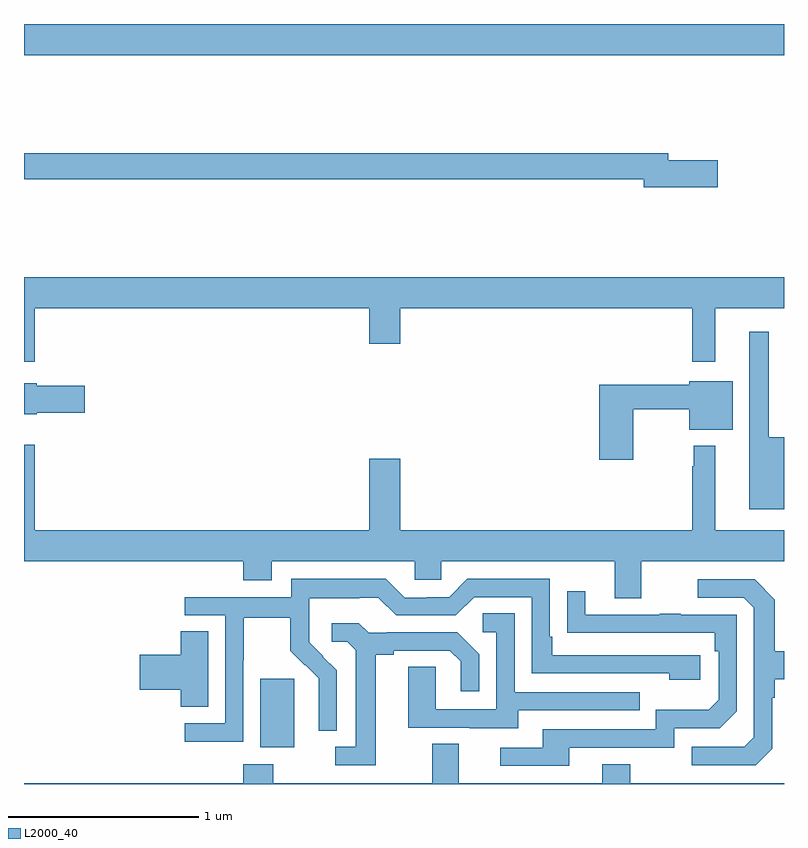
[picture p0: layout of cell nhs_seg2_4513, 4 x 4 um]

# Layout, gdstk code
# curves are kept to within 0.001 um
import gdstk
lib = gdstk.Library(unit=1e-6, precision=1e-09)
def R(c, l, rs):  # rectangles x0, y0, x1, y1
    for r in rs: c.add(gdstk.rectangle(r[:2], r[2:], *l))
def P(c, l, *ps):  # polygons
    for p in ps: c.add(gdstk.Polygon(p, *l))
L2000_40 = (2000, 40)

nhs_seg2_4513 = lib.new_cell('nhs_seg2_4513')
R(nhs_seg2_4513, L2000_40, [(356.243,643.994,356.422,644.355), (355,647.636,359,647.8)])
P(nhs_seg2_4513, L2000_40, [(358.651,647.084),(358.39,647.084),(358.39,647.12),(355,647.12),(355,646.984),(358.262,646.984),(358.262,646.942),(358.651,646.942)],
  [(355.057,646.304),(356.816,646.304),(356.816,646.116),(356.98,646.116),(356.98,646.304),(358.518,646.304),(358.518,646.023),(358.639,646.023),(358.639,646.304),(359,646.304),(359,646.468),(355,646.468),(355,646.023),(355.057,646.023)],
  [(359,645.625),(358.921,645.625),(358.921,646.18),(358.817,646.18),(358.817,645.245),(359,645.245)],
  [(358.206,645.772),(358.502,645.772),(358.502,645.665),(358.729,645.665),(358.729,645.919),(358.502,645.919),(358.502,645.901),(358.028,645.901),(358.028,645.507),(358.206,645.507)],
  [(355.068,645.755),(355.321,645.755),(355.321,645.897),(355.068,645.897),(355.068,645.91),(355,645.91),(355,645.746),(355.068,645.746)],
  [(358.249,644.972),(359,644.972),(359,645.136),(358.639,645.136),(358.639,645.58),(358.525,645.58),(358.525,645.473),(358.518,645.473),(358.518,645.136),(356.98,645.136),(356.98,645.511),(356.816,645.511),(356.816,645.136),(355.057,645.136),(355.057,645.586),(355,645.586),(355,644.972),(356.153,644.972),(356.153,644.873),(356.305,644.873),(356.305,644.972),(357.057,644.972),(357.057,644.874),(357.195,644.874),(357.195,644.972),(358.109,644.972),(358.109,644.778),(358.249,644.778)],
  [(356.154,644.452),(356.157,644.452),(356.157,644.676),(356.401,644.676),(356.401,644.501),(356.478,644.424),(356.481,644.427),(356.552,644.357),(356.552,644.234),(356.55,644.234),(356.55,644.08),(356.646,644.08),(356.646,644.398),(356.5,644.546),(356.5,644.643),(356.502,644.643),(356.502,644.777),(356.765,644.777),(356.765,644.781),(356.865,644.781),(356.958,644.688),(357.273,644.688),(357.369,644.784),(357.672,644.784),(357.672,644.382),(358.397,644.382),(358.397,644.348),(358.558,644.348),(358.558,644.478),(357.781,644.478),(357.781,644.575),(357.768,644.575),(357.768,644.88),(357.333,644.88),(357.237,644.784),(357.119,644.784),(357.119,644.781),(357.003,644.781),(356.903,644.881),(356.406,644.881),(356.406,644.784),(355.845,644.784),(355.845,644.688),(356.058,644.688),(356.058,644.121),(355.845,644.121),(355.845,644.023),(356.154,644.023)],
  [(358.938,643.986),(358.938,644.255),(358.951,644.255),(358.951,644.351),(359,644.351),(359,644.499),(358.951,644.499),(358.951,644.771),(358.845,644.877),(358.545,644.877),(358.545,644.781),(358.788,644.781),(358.842,644.727),(358.842,644.046),(358.791,643.995),(358.515,643.995),(358.515,643.899),(358.851,643.899)],
  [(357.871,643.992),(358.422,643.992),(358.422,644.094),(358.662,644.094),(358.752,644.184),(358.752,644.691),(358.457,644.691),(358.457,644.696),(358.345,644.696),(358.345,644.691),(357.955,644.691),(357.955,644.815),(357.859,644.815),(357.859,644.596),(358.636,644.595),(358.636,644.498),(358.656,644.498),(358.656,644.244),(358.603,644.191),(358.326,644.191),(358.326,644.088),(357.731,644.088),(357.731,643.992),(357.507,643.992),(357.507,643.896),(357.871,643.896)],
  [(357.601,644.187),(358.241,644.187),(358.241,644.283),(357.582,644.283),(357.582,644.699),(357.414,644.699),(357.414,644.598),(357.486,644.598),(357.486,644.193),(357.168,644.193),(357.168,644.417),(357.023,644.417),(357.023,644.097),(357.347,644.097),(357.347,644.093),(357.601,644.093)],
  [(356.851,644.48),(356.947,644.48),(356.947,644.502),(357.242,644.502),(357.299,644.445),(357.299,644.289),(357.396,644.289),(357.396,644.482),(357.28,644.598),(356.908,644.598),(356.908,644.595),(356.814,644.595),(356.762,644.647),(356.619,644.647),(356.619,644.55),(356.7,644.55),(356.747,644.503),(356.747,643.995),(356.637,643.995),(356.637,643.899),(356.851,643.899)],
  [(355.969,644.603),(355.826,644.603),(355.826,644.48),(355.608,644.48),(355.608,644.297),(355.826,644.297),(355.826,644.206),(355.969,644.206)],
  [(359,643.804),(358.191,643.804),(358.191,643.903),(358.043,643.903),(358.043,643.804),(357.289,643.804),(357.289,644.012),(357.149,644.012),(357.149,643.804),(356.313,643.804),(356.313,643.903),(356.153,643.903),(356.153,643.804),(355,643.804),(355,643.8),(359,643.8)])

lib.write_gds('nhs_seg2_4513.gds')
